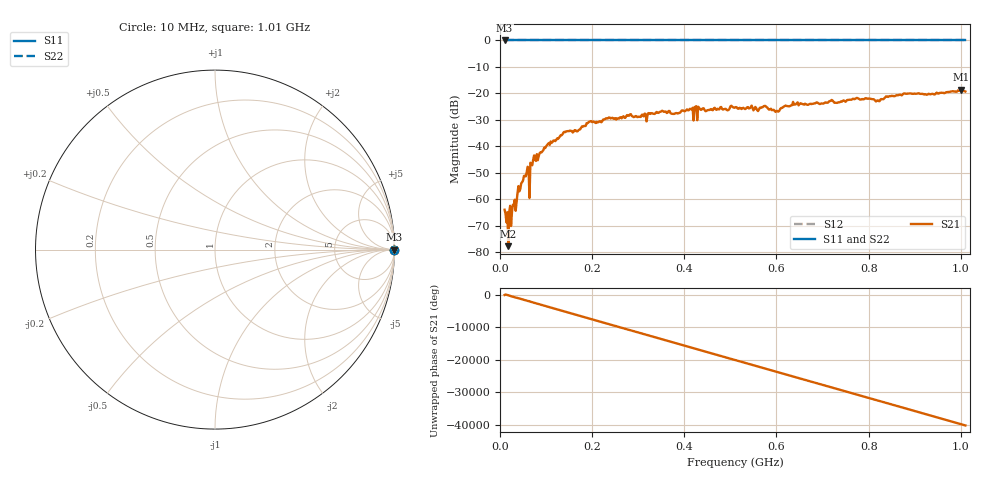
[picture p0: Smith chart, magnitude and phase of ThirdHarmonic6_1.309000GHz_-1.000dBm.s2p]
! 8/16/2025 2:28:08 PM
! C:\ANRITSUVNA\TEMP\TEMP.S2P
! CHANNEL.1
! TR.MEASUREMENT
! RAW.DATA
! RF.CORRECTION.OFF
! AVERAGING.OFF
! IF.BANDWIDTH: 5KHZ
! SWEEPTYPE:  FREQ.SWEEP(Linear)
! Reference Plane Port Info
! PORT:  PORT1  PORT2
! DISTANCE:  0  m  0  m
! TIME:  0  s  0  s
! PHASE.OFFSET:  0  deg.  0  deg.
! LOSS:  0  dB  0  dB
! REF.LOSS:  0  dB  0  dB
! REF.FREQ:  0  Hz  0  Hz
! Power Info
! POWER:  -20  dBm  -20  dBm
! EFF.POWER:  -20  dBm  -20  dBm
! SOURCE.ATTEN:  0  dB  0  dB
! TEST.ATTEN:  0  dB  0  dB
# GHZ S RI R 50.0
! FREQ.GHZ  S11RE  S11IM  S21RE  S21IM  S12RE  S12IM  S22RE  S22IM
!; PortSelection: Port_12
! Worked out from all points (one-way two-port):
!   501 points, 10 MHz to 1.01 GHz, reference 50 ohm
!   highest |S21| = -18.63 dB at 1 GHz (marker M1); lowest = -77.7 dB at 18 MHz (marker M2)
!   lowest |S11| = 0.0 dB at 10 MHz (marker M3)
!   |S11| at or under -10 dB: nowhere
!   |S22| runs from 0.0 to 0.0 dB; largest |S21 - S12| = 1.1
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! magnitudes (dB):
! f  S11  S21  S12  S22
! 10 MHz  0.0  -63.9  0.0  0.0
! 14 MHz  0.0  -68.7  0.0  0.0
! 18 MHz  0.0  -77.7  0.0  0.0
! 22 MHz  0.0  -62.5  0.0  0.0
! 24 MHz  0.0  -70.1  0.0  0.0
! 56 MHz  0.0  -51.3  0.0  0.0
! 60 MHz  0.0  -47.7  0.0  0.0
! 68 MHz  0.0  -46.5  0.0  0.0
! 70 MHz  0.0  -47.2  0.0  0.0
! 140 MHz  0.0  -34.5  0.0  0.0
! 178 MHz  0.0  -32.4  0.0  0.0
! 234 MHz  0.0  -29.5  0.0  0.0
! 344 MHz  0.0  -27.4  0.0  0.0
! 510 MHz  0.0  -25.3  0.0  0.0
! 576 MHz  0.0  -24.7  0.0  0.0
! 602 MHz  0.0  -26.6  0.0  0.0
! 640 MHz  0.0  -24.2  0.0  0.0
! 678 MHz  0.0  -23.9  0.0  0.0
! 820 MHz  0.0  -22.6  0.0  0.0
! 844 MHz  0.0  -21.1  0.0  0.0
! 1 GHz  0.0  -18.6  0.0  0.0
! 1.01 GHz  0.0  -19.3  0.0  0.0
